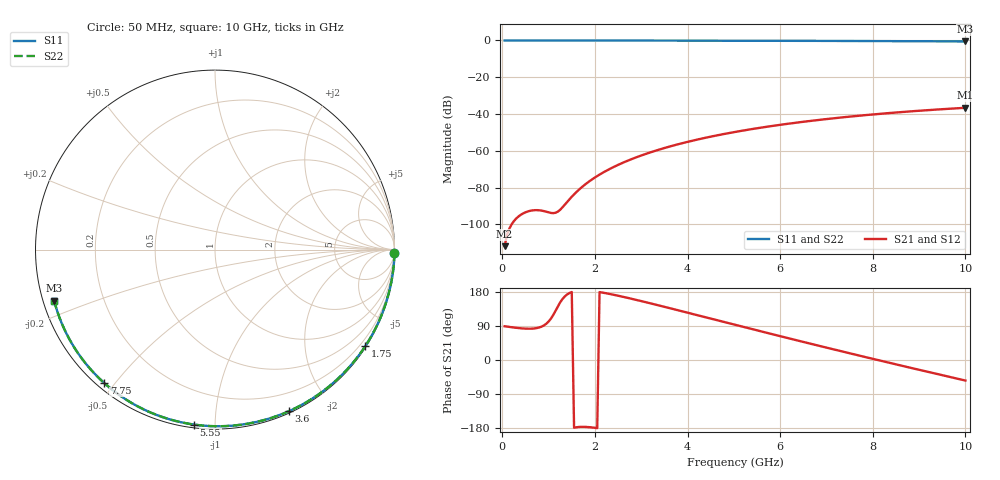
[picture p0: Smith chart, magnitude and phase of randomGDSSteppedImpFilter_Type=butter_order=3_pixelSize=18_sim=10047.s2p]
! freq	dB(S11)	phase(S11)	dB(S12)	phase(S12)
!  dB(S21)	phase(S21)	dB(S22)	phase(S22)
!S-par simulation data
#  GHz  S  DB  R 50
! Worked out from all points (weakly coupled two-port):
!   200 points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, 50 MHz to 10 GHz, reference 50 ohm
!   highest |S21| = -36.62 dB at 10 GHz (marker M1); lowest = -111.9 dB at 50 MHz (marker M2)
!   lowest |S11| = -0.5 dB at 10 GHz (marker M3), VSWR 32.41, Z = 1.58 - j7.73 ohm
!   |S11| at or under -10 dB: nowhere
!   |S22| runs from -0.5 to 0.0 dB; largest |S21 - S12| = 0
!   S11 on the Smith chart (normalised r, x): 50 MHz: open; 1.75 GHz: 0.03, -3.40; 3.6 GHz: 0.02, -1.56; 5.55 GHz: 0.02, -0.89; 7.75 GHz: 0.02, -0.47; 10 GHz: 0.03, -0.15
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0.05  -0.00 -1.0  -111.88 89.1  -111.88 89.1  -0.00 -1.0
0.45  -0.01 -8.6  -94.06 83.1  -94.06 83.1  -0.01 -8.6
0.85  -0.02 -16.1  -92.55 88.1  -92.55 88.1  -0.02 -16.1
1.25  -0.03 -23.5  -92.07 152.1  -92.07 152.1  -0.03 -23.5
1.7  -0.04 -31.8  -80.16 -176.4  -80.16 -176.4  -0.04 -31.8
1.75  -0.04 -32.7  -79.10 -176.4  -79.10 -176.4  -0.04 -32.7
1.9  -0.05 -35.5  -76.23 -177.5  -76.23 -177.5  -0.05 -35.5
2.05  -0.05 -38.2  -73.73 -179.8  -73.73 -179.8  -0.05 -38.2
2.25  -0.05 -41.8  -70.81 175.9  -70.81 175.9  -0.05 -41.8
2.45  -0.06 -45.4  -68.26 171.0  -68.26 171.0  -0.06 -45.4
2.9  -0.07 -53.3  -63.49 158.4  -63.49 158.4  -0.07 -53.3
3.4  -0.08 -62.0  -59.25 143.4  -59.25 143.4  -0.08 -62.0
3.6  -0.09 -65.4  -57.79 137.3  -57.79 137.3  -0.09 -65.4
4.3  -0.11 -77.0  -53.40 115.6  -53.40 115.6  -0.11 -77.0
5.05  -0.14 -89.1  -49.65 92.2  -49.65 92.2  -0.14 -89.1
5.55  -0.16 -96.9  -47.55 76.7  -47.55 76.7  -0.16 -96.9
6.1  -0.19 -105.3  -45.54 59.9  -45.54 59.9  -0.19 -105.3
6.7  -0.22 -114.3  -43.62 41.7  -43.62 41.7  -0.22 -114.3
7.75  -0.30 -129.7  -40.82 10.4  -40.82 10.4  -0.30 -129.7
8.35  -0.35 -138.4  -39.49 -7.1  -39.49 -7.1  -0.35 -138.3
9.2  -0.44 -150.7  -37.88 -31.6  -37.88 -31.6  -0.44 -150.7
10  -0.54 -162.4  -36.62 -54.2  -36.62 -54.2  -0.54 -162.4
